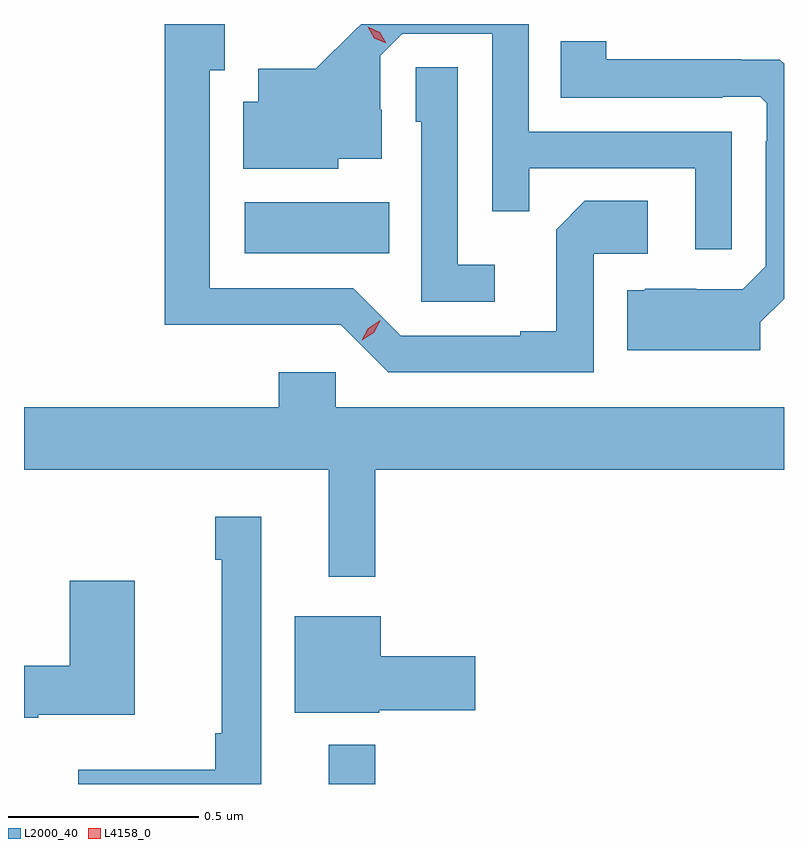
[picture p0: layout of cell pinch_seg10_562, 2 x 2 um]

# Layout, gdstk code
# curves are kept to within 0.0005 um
import gdstk
lib = gdstk.Library(unit=1e-6, precision=1e-09)
def R(c, l, rs):  # rectangles x0, y0, x1, y1
    for r in rs: c.add(gdstk.rectangle(r[:2], r[2:], *l))
def P(c, l, *ps):  # polygons
    for p in ps: c.add(gdstk.Polygon(p, *l))
L2000_40 = (2000, 40)
L4158_0 = (4158, 0)

pinch_seg10_562 = lib.new_cell('pinch_seg10_562')
R(pinch_seg10_562, L2000_40, [(229.061,1263.525,229.183,1263.628), (228.84,1264.922,229.22,1265.056)])
P(pinch_seg10_562, L2000_40, [(230.121,1265.241),(229.587,1265.241),(229.587,1265.525),(229.146,1265.525),(229.027,1265.407),(228.875,1265.407),(228.875,1265.32),(228.836,1265.32),(228.836,1265.144),(229.086,1265.144),(229.086,1265.171),(229.201,1265.171),(229.201,1265.3),(229.197,1265.3),(229.197,1265.442),(229.254,1265.499),(229.491,1265.499),(229.491,1265.032),(229.589,1265.032),(229.589,1265.145),(230.025,1265.145),(230.025,1264.932),(230.121,1264.932)],
  [(229.758,1264.92),(229.9,1264.92),(229.9,1265.06),(229.735,1265.06),(229.659,1264.984),(229.659,1264.717),(229.565,1264.717),(229.565,1264.704),(229.251,1264.704),(229.125,1264.83),(228.748,1264.83),(228.748,1265.403),(228.787,1265.403),(228.787,1265.524),(228.63,1265.524),(228.63,1264.733),(228.87,1264.733),(228.87,1264.734),(229.092,1264.734),(229.218,1264.608),(229.758,1264.608)],
  [(230.197,1264.74),(230.259,1264.802),(230.259,1265.42),(230.248,1265.431),(230.147,1265.431),(230.147,1265.432),(229.791,1265.432),(229.791,1265.479),(229.672,1265.479),(229.672,1265.331),(230.096,1265.331),(230.096,1265.334),(230.196,1265.334),(230.214,1265.316),(230.214,1265.216),(230.211,1265.216),(230.211,1264.887),(230.151,1264.827),(230.028,1264.827),(230.028,1264.828),(229.894,1264.828),(229.891,1264.825),(229.847,1264.825),(229.847,1264.667),(230.197,1264.667)],
  [(229.498,1264.891),(229.401,1264.891),(229.401,1265.411),(229.29,1265.411),(229.29,1265.268),(229.305,1265.268),(229.305,1264.794),(229.498,1264.794)],
  [(229.183,1264.352),(230.259,1264.352),(230.259,1264.516),(229.08,1264.516),(229.08,1264.609),(228.929,1264.609),(228.929,1264.516),(228.259,1264.516),(228.259,1264.352),(229.061,1264.352),(229.061,1264.071),(229.183,1264.071)],
  [(228.883,1264.228),(228.762,1264.228),(228.762,1264.115),(228.779,1264.115),(228.779,1263.658),(228.762,1263.658),(228.762,1263.562),(228.402,1263.562),(228.402,1263.525),(228.883,1263.525)],
  [(228.296,1263.707),(228.55,1263.707),(228.55,1264.06),(228.38,1264.06),(228.38,1263.836),(228.259,1263.836),(228.259,1263.7),(228.296,1263.7)],
  [(229.194,1263.719),(229.447,1263.719),(229.447,1263.861),(229.198,1263.861),(229.198,1263.967),(228.971,1263.967),(228.971,1263.713),(229.194,1263.713)])
P(pinch_seg10_562, L4158_0, [(229.212,1265.474),(229.181,1265.488),(229.164,1265.518),(229.164,1265.518),(229.164,1265.518),(229.195,1265.503),(229.212,1265.474),(229.212,1265.474)],
  [(229.148,1264.693),(229.148,1264.693),(229.165,1264.725),(229.197,1264.745),(229.197,1264.745),(229.197,1264.744),(229.18,1264.712),(229.148,1264.693)])

lib.write_gds('pinch_seg10_562.gds')
